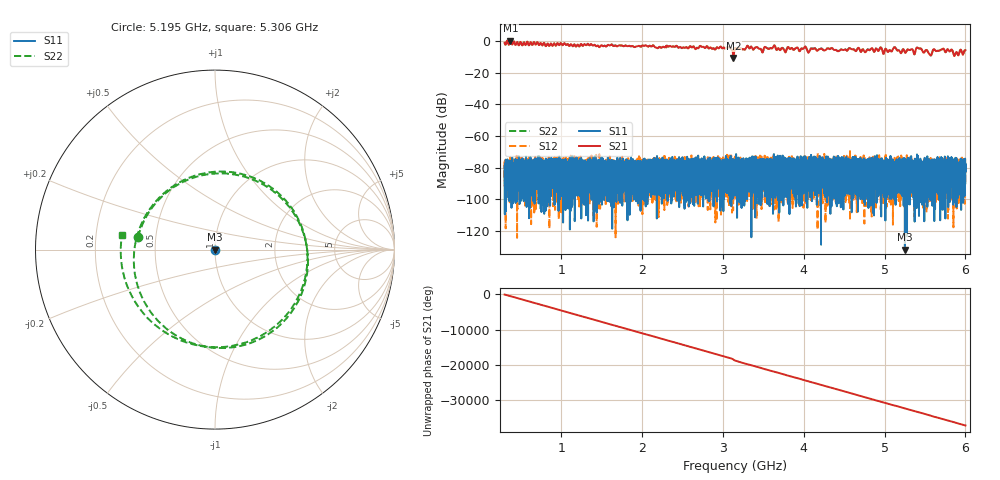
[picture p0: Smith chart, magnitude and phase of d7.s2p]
!Agilent Technologies,N5230C,SG49000117,A.08.50.07
!Agilent N5230C: A.08.50.07
!Date: Sunday, March 17, 2024 02:56:12
!Correction: S11(Off)
!S21(Off)
!S12(Off)
!S22(Off)
!S2P File: Measurements: S11, S21, S12, S22:
# Hz S  RI  R 50
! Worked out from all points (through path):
!   20001 points, 300 MHz to 6 GHz, reference 50 ohm
!   highest |S21| = 0.40 dB at 372.7 MHz (marker M1); lowest = -10.6 dB at 3.13 GHz (marker M2)
!   lowest |S11| = -131.8 dB at 5.251 GHz (marker M3), VSWR 1.00, Z = 50 + j1.94e-05 ohm
!   |S11| at or under -10 dB: start of sweep to end of sweep
!   |S22| runs from -10.6 to 0.4 dB; largest |S21 - S12| = 1
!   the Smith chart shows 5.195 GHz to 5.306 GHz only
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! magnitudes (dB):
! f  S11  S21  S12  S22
! 300 MHz  -79.3  -1.1  -81.5  -1.1
! 372.7 MHz  -80.1  0.4  -81.2  0.4
! 1.25 GHz  -102.5  -2.0  -97.2  -2.0
! 2.2 GHz  -82.4  -4.3  -86.5  -4.3
! 3.07 GHz  -84.2  -4.0  -79.1  -3.9
! 3.13 GHz  -84.6  -10.6  -79.9  -10.6
! 3.15 GHz  -84.1  -4.4  -93.0  -4.4
! 3.322 GHz  -85.7  -4.4  -79.7  -4.3
! 3.476 GHz  -78.5  -5.5  -78.2  -5.4
! 3.625 GHz  -83.6  -3.4  -78.0  -3.3
! 3.766 GHz  -76.5  -6.6  -75.1  -6.5
! 4.1 GHz  -83.4  -4.6  -78.5  -4.5
! 5.05 GHz  -83.5  -6.4  -84.8  -6.4
! 5.126 GHz  -78.5  -3.9  -77.3  -3.8
! 5.251 GHz  -131.8  -7.2  -85.6  -7.2
! 5.364 GHz  -89.7  -7.9  -88.7  -7.9
! 5.422 GHz  -86.8  -4.5  -103.0  -4.5
! 5.564 GHz  -77.4  -8.8  -86.8  -8.8
! 5.616 GHz  -80.7  -5.2  -81.5  -5.2
! 5.714 GHz  -100.1  -5.0  -84.7  -5.1
! 5.886 GHz  -84.2  -7.0  -81.1  -7.1
! 6 GHz  -78.2  -5.7  -80.2  -5.8
